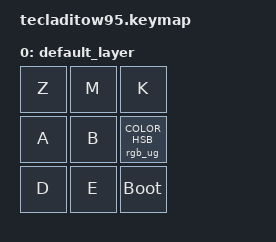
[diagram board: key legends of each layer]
#include <behaviors.dtsi>
#include <dt-bindings/zmk/keys.h>
#include <dt-bindings/zmk/rgb.h>

/ {
    keymap {
        compatible = "zmk,keymap";

        default_layer {
            bindings = <
                &kp Z   &kp M   &kp K
                &kp A   &kp B   &rgb_ug RGB_COLOR_HSB(61,100,50)
                &kp D   &kp E   &bootloader
            >;
        };
    };
};
